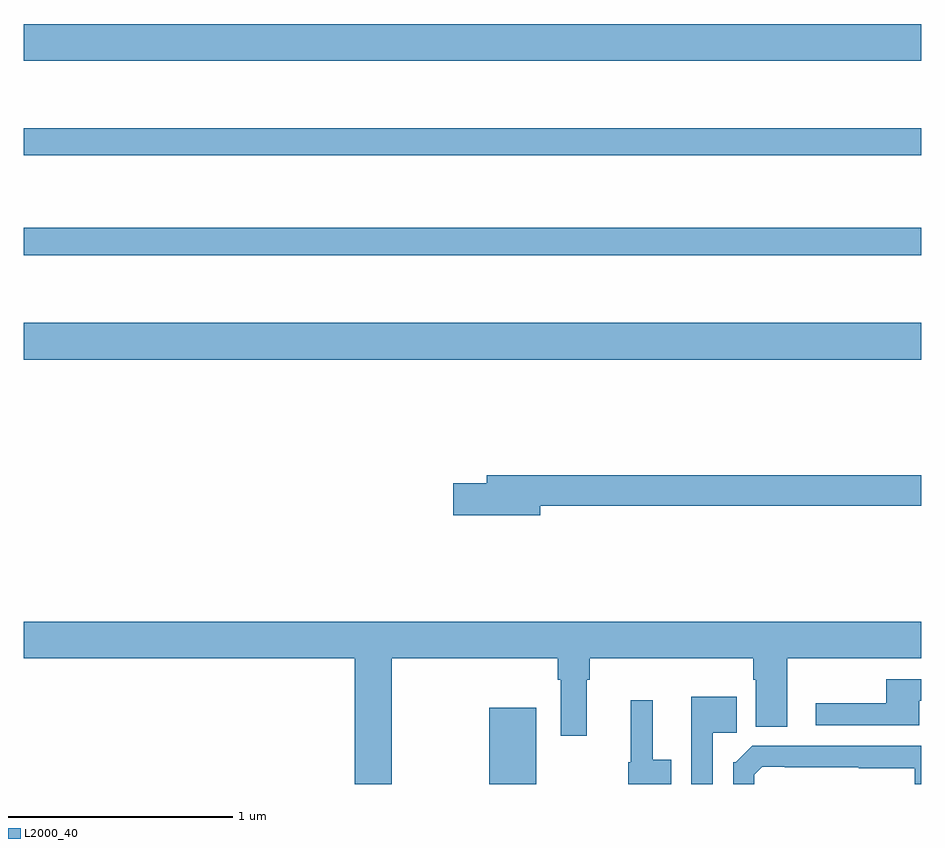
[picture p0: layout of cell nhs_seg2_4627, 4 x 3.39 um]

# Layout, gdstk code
import gdstk
lib = gdstk.Library(unit=1e-6, precision=1e-09)
def R(c, l, rs):  # rectangles x0, y0, x1, y1
    for r in rs: c.add(gdstk.rectangle(r[:2], r[2:], *l))
def P(c, l, *ps):  # polygons
    for p in ps: c.add(gdstk.Polygon(p, *l))
L2000_40 = (2000, 40)

nhs_seg2_4627 = lib.new_cell('nhs_seg2_4627')
R(nhs_seg2_4627, L2000_40, [(365.075,589.8,365.284,590.14), (363,591.692,367,591.856), (363,592.158,367,592.279), (363,592.602,367,592.723), (363,593.024,367,593.188)])
P(nhs_seg2_4627, L2000_40, [(365.302,591.04),(367,591.04),(367,591.176),(365.063,591.176),(365.063,591.14),(364.914,591.14),(364.914,590.998),(365.302,590.998)],
  [(363,590.36),(364.475,590.36),(364.475,589.8),(364.639,589.8),(364.639,590.36),(365.381,590.36),(365.381,590.264),(365.393,590.264),(365.393,590.016),(365.509,590.016),(365.509,590.264),(365.522,590.264),(365.522,590.36),(366.251,590.36),(366.251,590.264),(366.263,590.264),(366.263,590.056),(366.403,590.056),(366.403,590.36),(367,590.36),(367,590.524),(363,590.524)],
  [(366.991,590.172),(367,590.172),(367,590.268),(366.844,590.268),(366.844,590.159),(366.531,590.159),(366.531,590.061),(366.991,590.061)],
  [(366.072,590.028),(366.178,590.028),(366.178,590.188),(365.976,590.188),(365.976,589.8),(366.072,589.8)],
  [(365.887,589.908),(365.803,589.908),(365.803,590.173),(365.705,590.173),(365.705,589.896),(365.694,589.896),(365.694,589.8),(365.887,589.8)],
  [(366.257,589.842),(366.292,589.878),(366.391,589.878),(366.391,589.875),(366.721,589.875),(366.721,589.87),(366.972,589.87),(366.972,589.8),(367,589.8),(367,589.971),(366.248,589.971),(366.173,589.896),(366.162,589.896),(366.162,589.8),(366.257,589.8)])

lib.write_gds('nhs_seg2_4627.gds')
